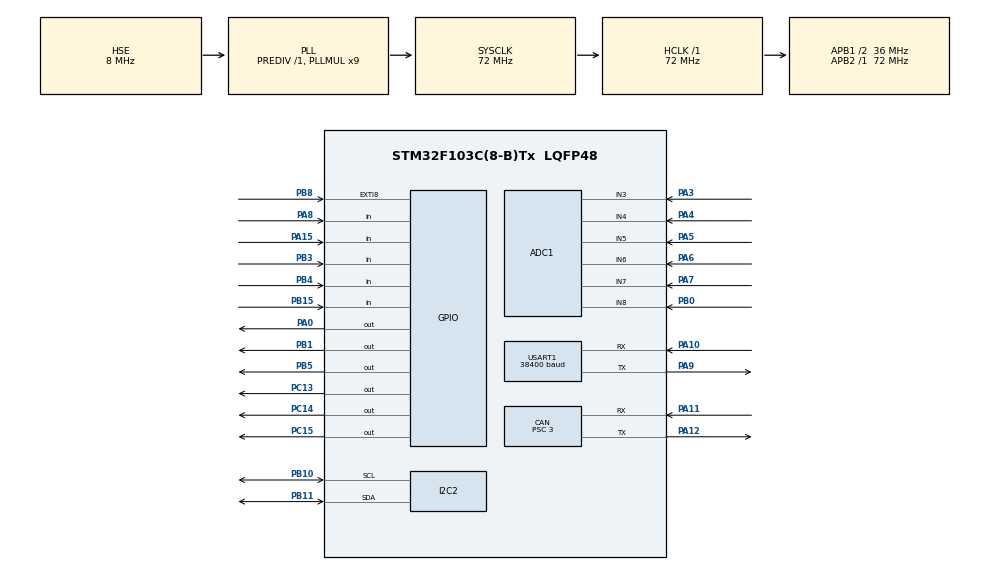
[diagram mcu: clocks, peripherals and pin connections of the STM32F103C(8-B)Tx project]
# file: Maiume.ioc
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ADC1.Channel-0\#ChannelRegularConversion=ADC_CHANNEL_4
ADC1.Channel-1\#ChannelRegularConversion=ADC_CHANNEL_5
ADC1.Channel-2\#ChannelRegularConversion=ADC_CHANNEL_6
ADC1.Channel-3\#ChannelRegularConversion=ADC_CHANNEL_7
ADC1.Channel-4\#ChannelRegularConversion=ADC_CHANNEL_8
ADC1.Channel-5\#ChannelRegularConversion=ADC_CHANNEL_3
ADC1.ContinuousConvMode=ENABLE
ADC1.NbrOfConversion=6
ADC1.NbrOfConversionFlag=1
ADC1.Rank-0\#ChannelRegularConversion=1
ADC1.Rank-1\#ChannelRegularConversion=2
ADC1.Rank-2\#ChannelRegularConversion=3
ADC1.Rank-3\#ChannelRegularConversion=4
ADC1.Rank-4\#ChannelRegularConversion=5
ADC1.Rank-5\#ChannelRegularConversion=6
ADC1.SamplingTime-0\#ChannelRegularConversion=ADC_SAMPLETIME_71CYCLES_5
ADC1.SamplingTime-1\#ChannelRegularConversion=ADC_SAMPLETIME_71CYCLES_5
ADC1.SamplingTime-2\#ChannelRegularConversion=ADC_SAMPLETIME_71CYCLES_5
ADC1.SamplingTime-3\#ChannelRegularConversion=ADC_SAMPLETIME_71CYCLES_5
ADC1.SamplingTime-4\#ChannelRegularConversion=ADC_SAMPLETIME_71CYCLES_5
ADC1.SamplingTime-5\#ChannelRegularConversion=ADC_SAMPLETIME_71CYCLES_5
ADC1.master=1
CAN.ABOM=ENABLE
CAN.BS1=CAN_BS1_5TQ
CAN.BS2=CAN_BS2_6TQ
CAN.CalculateTimeBit=1000
CAN.CalculateTimeQuantum=83.33333333333334
CAN.Prescaler=3
Dma.ADC1.1.Direction=DMA_PERIPH_TO_MEMORY
Dma.ADC1.1.Instance=DMA1_Channel1
Dma.ADC1.1.MemDataAlignment=DMA_MDATAALIGN_WORD
Dma.ADC1.1.MemInc=DMA_MINC_ENABLE
Dma.ADC1.1.Mode=DMA_CIRCULAR
Dma.ADC1.1.PeriphDataAlignment=DMA_PDATAALIGN_WORD
Dma.ADC1.1.PeriphInc=DMA_PINC_DISABLE
Dma.ADC1.1.Priority=DMA_PRIORITY_LOW
Dma.Request0=USART1_TX
Dma.Request1=ADC1
Dma.USART1_TX.0.Direction=DMA_MEMORY_TO_PERIPH
Dma.USART1_TX.0.Instance=DMA1_Channel4
Dma.USART1_TX.0.MemDataAlignment=DMA_MDATAALIGN_BYTE
Dma.USART1_TX.0.MemInc=DMA_MINC_ENABLE
Dma.USART1_TX.0.Mode=DMA_NORMAL
Dma.USART1_TX.0.PeriphDataAlignment=DMA_PDATAALIGN_BYTE
Dma.USART1_TX.0.PeriphInc=DMA_PINC_DISABLE
Dma.USART1_TX.0.Priority=DMA_PRIORITY_MEDIUM
Mcu.Family=STM32F1
Mcu.Name=STM32F103C(8-B)Tx
Mcu.Package=LQFP48
NVIC.DMA1_Channel1_IRQn=true\:0\:0\:false\:false\:true\:false
NVIC.DMA1_Channel4_IRQn=true\:0\:0\:false\:false\:true\:false
NVIC.EXTI9_5_IRQn=true\:0\:0\:true\:false\:true\:true
NVIC.PriorityGroup=NVIC_PRIORITYGROUP_3
NVIC.TIM3_IRQn=true\:1\:1\:true\:false\:true\:true
NVIC.USART1_IRQn=true\:0\:0\:false\:false\:true\:true
NVIC.USB_LP_CAN1_RX0_IRQn=true\:0\:0\:false\:false\:true\:true
PA0-WKUP.Signal=GPIO_Output
PA10.Mode=Asynchronous
PA10.Signal=USART1_RX
PA11.Mode=Master
PA11.Signal=CAN_RX
PA12.Mode=Master
PA12.Signal=CAN_TX
PA13.Mode=Serial_Wire
PA13.Signal=SYS_JTMS-SWDIO
PA14.Mode=Serial_Wire
PA14.Signal=SYS_JTCK-SWCLK
PA15.Signal=GPIO_Input
PA3.Signal=ADCx_IN3
PA4.Signal=ADCx_IN4
PA5.Signal=ADCx_IN5
PA6.Signal=ADCx_IN6
PA7.Signal=ADCx_IN7
PA8.Signal=GPIO_Input
PA9.Mode=Asynchronous
PA9.Signal=USART1_TX
PB0.Signal=ADCx_IN8
PB1.Signal=GPIO_Output
PB10.Mode=I2C
PB10.Signal=I2C2_SCL
PB11.Mode=I2C
PB11.Signal=I2C2_SDA
PB15.Signal=GPIO_Input
PB3.Signal=GPIO_Input
PB4.Signal=GPIO_Input
PB5.Signal=GPIO_Output
PB8.GPIO_ModeDefaultEXTI=GPIO_MODE_IT_RISING_FALLING
PB8.Signal=GPXTI8
PC13-TAMPER-RTC.Signal=GPIO_Output
PC14-OSC32_IN.Signal=GPIO_Output
PC15-OSC32_OUT.Signal=GPIO_Output
PD0-OSC_IN.Mode=HSE-External-Oscillator
PD0-OSC_IN.Signal=RCC_OSC_IN
PD1-OSC_OUT.Mode=HSE-External-Oscillator
PD1-OSC_OUT.Signal=RCC_OSC_OUT
ProjectManager.HeapSize=0x200
ProjectManager.StackSize=0x400
ProjectManager.TargetToolchain=SW4STM32
RCC.ADCPresc=RCC_ADCPCLK2_DIV6
RCC.AHBFreq_Value=72000000
RCC.APB1CLKDivider=RCC_HCLK_DIV2
RCC.APB1Freq_Value=36000000
RCC.APB1TimFreq_Value=72000000
RCC.APB2Freq_Value=72000000
RCC.APB2TimFreq_Value=72000000
RCC.HCLKFreq_Value=72000000
RCC.PLLMUL=RCC_PLL_MUL9
RCC.PLLSourceVirtual=RCC_PLLSOURCE_HSE
RCC.SYSCLKFreq_VALUE=72000000
RCC.SYSCLKSource=RCC_SYSCLKSOURCE_PLLCLK
RCC.USBFreq_Value=72000000
SH.ADCx_IN3.0=ADC1_IN3,IN3
SH.ADCx_IN4.0=ADC1_IN4,IN4
SH.ADCx_IN5.0=ADC1_IN5,IN5
SH.ADCx_IN6.0=ADC1_IN6,IN6
SH.ADCx_IN7.0=ADC1_IN7,IN7
SH.ADCx_IN8.0=ADC1_IN8,IN8
TIM3.Period=49
TIM3.Prescaler=36000
TIM4.Period=62000
TIM4.Prescaler=144
USART1.BaudRate=38400
USART1.VirtualMode=VM_ASYNC
VP_TIM3_VS_ClockSourceINT.Mode=Internal
VP_TIM4_VS_ClockSourceINT.Mode=Internal
board=custom

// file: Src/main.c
/**
  ******************************************************************************
  * @file           : main.c
  * @brief          : Main program body
  ******************************************************************************
  ** This notice applies to any and all portions of this file
  * that are not between comment pairs USER CODE BEGIN and
  * USER CODE END. Other portions of this file, whether
  * inserted by the user or by software development tools
  * are owned by their respective copyright owners.
  *
  * COPYRIGHT(c) 2019 STMicroelectronics
  *
  * Redistribution and use in source and binary forms, with or without modification,
  * are permitted provided that the following conditions are met:
  *   1. Redistributions of source code must retain the above copyright notice,
  *      this list of conditions and the following disclaimer.
  *   2. Redistributions in binary form must reproduce the above copyright notice,
  *      this list of conditions and the following disclaimer in the documentation
  *      and/or other materials provided with the distribution.
  *   3. Neither the name of STMicroelectronics nor the names of its contributors
  *      may be used to endorse or promote products derived from this software
  *      without specific prior written permission.
  *
  * THIS SOFTWARE IS PROVIDED BY THE COPYRIGHT HOLDERS AND CONTRIBUTORS "AS IS"
  * AND ANY EXPRESS OR IMPLIED WARRANTIES, INCLUDING, BUT NOT LIMITED TO, THE
  * IMPLIED WARRANTIES OF MERCHANTABILITY AND FITNESS FOR A PARTICULAR PURPOSE ARE
  * DISCLAIMED. IN NO EVENT SHALL THE COPYRIGHT HOLDER OR CONTRIBUTORS BE LIABLE
  * FOR ANY DIRECT, INDIRECT, INCIDENTAL, SPECIAL, EXEMPLARY, OR CONSEQUENTIAL
  * DAMAGES (INCLUDING, BUT NOT LIMITED TO, PROCUREMENT OF SUBSTITUTE GOODS OR
  * SERVICES; LOSS OF USE, DATA, OR PROFITS; OR BUSINESS INTERRUPTION) HOWEVER
  * CAUSED AND ON ANY THEORY OF LIABILITY, WHETHER IN CONTRACT, STRICT LIABILITY,
  * OR TORT (INCLUDING NEGLIGENCE OR OTHERWISE) ARISING IN ANY WAY OUT OF THE USE
  * OF THIS SOFTWARE, EVEN IF ADVISED OF THE POSSIBILITY OF SUCH DAMAGE.
  *
  ******************************************************************************
  */
#include "main.h"
#include "stm32f1xx_hal.h"

/* USER CODE BEGIN Includes */
#include "sd_hal_mpu6050.h"
/* USER CODE END Includes */

ADC_HandleTypeDef hadc1;
DMA_HandleTypeDef hdma_adc1;

CAN_HandleTypeDef hcan;

I2C_HandleTypeDef hi2c2;

TIM_HandleTypeDef htim3;
TIM_HandleTypeDef htim4;

UART_HandleTypeDef huart1;
DMA_HandleTypeDef hdma_usart1_tx;

/* USER CODE BEGIN PV */
/* Private variables ---------------------------------------------------------*/

/* Para enviar como string, defina SENDNUMBER como 0. Para enviar um buffer de bytes, defina como 1*/
#define SENDNUMBER 1

/* Define endere�os dos dados (measureID) de acordo com o protocolo FTCAN2.0*/
#define TPS_ADDR 0x0002
#define RPM_ADDR 0x0084
#define BAT_V_ADDR 0x0012
#define TPM_MOT_ADDR 0x0008
#define OILP_ADDR 0x000A
#define SPEEDFR_ADDR 0x001A
#define FUELP_ADDR 0x000C
#define MAP_ADDR 0x0004
#define DRSFRPM 0x0020
#define ECU_INJ_TIME_A 0x0086
#define ECU_INJ_TIME_B 0x0088

/* Define endere�os das temperaturas do Freio*/

/*Variaveis globais dos dados*/
uint16_t RPM = 0,  SPEEDFR = 0, TIMERCOUNT=0, POSVOL = 0, PFREIOT = 0, PFREIOD =0, TEMPPDU = 0,TPS, ECT, BAT, OILP,FUELP, CORRENTE=0, SUSP = 0;
uint16_t INJEC_TIME_A = 0, INJEC_TIME_B = 0;
float  MAP;
uint8_t BOMBA, VENT, SPARKC, BEACON = 0;

CanTxMsgTypeDef TxTemp;
CanTxMsgTypeDef TxSpeed;
CanTxMsgTypeDef adc1;

/* UART  */
char tx_buffer[100];
char tx_buffer2[80];
char tx_buffer3[80];
char tx_buffer4[100];
uint8_t pack3_cnt = 0, pack2_cnt = 0, PACKNO;

uint8_t buff1[15], buff2[20], buff3[15] ,buff4[30];

/*I2c acelerometro*/
SD_MPU6050 mpu1;
char acel_result[100];
int16_t g_x, g_y, g_z, a_x, a_y, a_z;

/* Recepcao de pacotes CAN */
uint32_t canID =0, callbackCnt = 0;
uint8_t  datafieldID;
uint16_t payloadLength, payloadCnt = 0;
uint8_t segPackNo = 0;
uint8_t payloadData[80];
uint8_t canData[8];

/* ADC */
uint32_t adc_buffer[600], ADC[6]= {0,0,0,0,0,0};

/* Extensometros */
uint8_t dados_ext[8], RECEIVED_ETX = 0;
uint8_t EXT_ARRAY[8];
unsigned long EXT_DATA[8] = {0,0,0,0,0,0,0,0};
uint8_t CANTX = 0, CANRX = 0;

/* Sensor de temperatura PWM */
uint32_t PWMHighCounter = 0, PWMPeriodCounter = 0, dutyCycle = 0;
uint16_t TEMPBREAK_1=0, TEMPBREAK_2=0;

/*  vent = B4
  bomba = A15
beacon = a8
sensor de corrente = b0
 */

/* USER CODE END PV */

void SystemClock_Config(void);
static void MX_GPIO_Init(void);
static void MX_DMA_Init(void);
static void MX_ADC1_Init(void);
static void MX_CAN_Init(void);
static void MX_I2C2_Init(void);
static void MX_TIM3_Init(void);
static void MX_USART1_UART_Init(void);
static void MX_TIM4_Init(void);

/* USER CODE BEGIN PFP */
/* Private function prototypes -----------------------------------------------*/

/* Declara funcoes proprias do usuario */
static void CAN_Config(void);
void TR_CAN_Transmit( CanTxMsgTypeDef *MessageTX, uint8_t Data_size, uint8_t Data_array[]);
void UserMsgConfig(void);
void getMeasure(uint8_t address, uint16_t value);
void sendFrame(void);
void assemblePackage(uint8_t n);

/*Chama essa fun��o quando completa a conversao dos canais ADC*/
void HAL_ADC_ConvCpltCallback(ADC_HandleTypeDef* hadc){
	int i;
		for(i=300;i<=594;i+=6){
			ADC[0] = adc_buffer[i]+ ADC[0];
			ADC[1] = adc_buffer[i+1]+ ADC[1];
			ADC[2] = adc_buffer[i+2]+ ADC[2];
			ADC[3] = adc_buffer[i+3]+ ADC[3];
			ADC[4] = adc_buffer[i+4]+ ADC[4];
			ADC[5] = adc_buffer[i+5]+ ADC[5];
		}
	ADC[0] = ADC[0]/100;
	ADC[1] = ADC[1]/100;
	ADC[2] = ADC[2]/100;
	ADC[3] = ADC[3]/100;
	ADC[4] = ADC[4]/100;
	ADC[5] = ADC[5]/100;

	PFREIOT = ADC[0];
	PFREIOD = ADC[1];
	POSVOL = ADC[2];
	TEMPPDU = ADC[3];
	CORRENTE = ADC[4];
	SUSP = ADC[5];
}

void HAL_ADC_ConvHalfCpltCallback(ADC_HandleTypeDef* hadc){
	int i;
	for(i=0;i<=294;i+=6){
		ADC[0] = adc_buffer[i]+ ADC[0];
		ADC[1] = adc_buffer[i+1]+ ADC[1];
		ADC[2] = adc_buffer[i+2]+ ADC[2];
		ADC[3] = adc_buffer[i+3]+ ADC[3];
		ADC[4] = adc_buffer[i+4]+ ADC[4];
		ADC[5] = adc_buffer[i+5]+ ADC[5];

	}
	//ADC[0] = ADC[0]/5;
	//ADC[1] = ADC[1]/5;
	//ADC[2] = ADC[2]/5;
	//ADC[3] = ADC[3]/5;
}

/* USER CODE END PFP */

int main(void)
{

  /* MCU Configuration----------------------------------------------------------*/

  /* Reset of all peripherals, Initializes the Flash interface and the Systick. */
  HAL_Init();

  /* Configure the system clock */
  SystemClock_Config();

  /* Initialize all configured peripherals */
  MX_GPIO_Init();
  MX_DMA_Init();
  MX_ADC1_Init();
  MX_CAN_Init();
  MX_I2C2_Init();
  MX_TIM3_Init();
  MX_USART1_UART_Init();
  MX_TIM4_Init();
  /* USER CODE BEGIN 2 */

  /*Delay para esperar FT500 estabelecer comunicacao com WB-O2*/
  HAL_Delay(4000);

  /*LED C13 pisca para sinalizar que o progrma come�ou*/
    HAL_GPIO_WritePin(GPIOC, GPIO_PIN_13, GPIO_PIN_RESET);
    HAL_Delay(500);
    HAL_GPIO_WritePin(GPIOC, GPIO_PIN_13, GPIO_PIN_SET);
    HAL_Delay(500);
    HAL_GPIO_WritePin(GPIOC, GPIO_PIN_13, GPIO_PIN_RESET);
    HAL_Delay(500);

  /* Funcoes de inicialicao das mensagens CAN */
  CAN_Config();
  UserMsgConfig();

  /*Acelerometro*/
   SD_MPU6050_Init (&hi2c2, &mpu1, SD_MPU6050_Device_0,SD_MPU6050_Accelerometer_2G, SD_MPU6050_Gyroscope_250s);

  /* Inicializa ADC no modo circular, carregando resultados no buffer adc_buffer*/
  HAL_ADC_Start_DMA(&hadc1, adc_buffer, 600);

  /* Chama fun��o de recep��o de frames CAN  */
  if (HAL_CAN_Receive_IT(&hcan, CAN_FIFO0) != HAL_OK)
    {
      /* Reception Error */
     Error_Handler();
    }

   /* Sinaliza para timer4 (base do tempo para o PWM) iniciar a contagem*/
   HAL_TIM_Base_Start(&htim4);

   /* Sinaliza para timer comecar a contagem */
   HAL_TIM_Base_Start_IT(&htim3);

  /* USER CODE END 2 */

  /* Infinite loop */
  /* USER CODE BEGIN WHILE */
  while (1)
  {
	  /* Pisca LED para sinalizar que h� um programa rodando */
	  //HAL_GPIO_TogglePin(GPIOC, GPIO_PIN_13);
	//  result = SD_MPU6050_Init (&hi2c2, &mpu1, SD_MPU6050_Device_0,SD_MPU6050_Accelerometer_2G, SD_MPU6050_Gyroscope_250s);
	//  HAL_Delay(100);

  /* USER CODE END WHILE */

  /* USER CODE BEGIN 3 */

	 	 //SD_MPU6050_ReadAccelerometer(&hi2c2,&mpu1);
	 //	 a_x = mpu1.Accelerometer_X;
	 	// a_y = mpu1.Accelerometer_Y;
	 //	 a_z = mpu1.Accelerometer_Z;
  }
  /* USER CODE END 3 */

}

void SystemClock_Config(void)
{

  RCC_OscInitTypeDef RCC_OscInitStruct;
  RCC_ClkInitTypeDef RCC_ClkInitStruct;
  RCC_PeriphCLKInitTypeDef PeriphClkInit;

    /**Initializes the CPU, AHB and APB busses clocks
    */
  RCC_OscInitStruct.OscillatorType = RCC_OSCILLATORTYPE_HSE;
  RCC_OscInitStruct.HSEState = RCC_HSE_ON;
  RCC_OscInitStruct.HSEPredivValue = RCC_HSE_PREDIV_DIV1;
  RCC_OscInitStruct.HSIState = RCC_HSI_ON;
  RCC_OscInitStruct.PLL.PLLState = RCC_PLL_ON;
  RCC_OscInitStruct.PLL.PLLSource = RCC_PLLSOURCE_HSE;
  RCC_OscInitStruct.PLL.PLLMUL = RCC_PLL_MUL9;
  if (HAL_RCC_OscConfig(&RCC_OscInitStruct) != HAL_OK)
  {
    _Error_Handler(__FILE__, __LINE__);
  }

    /**Initializes the CPU, AHB and APB busses clocks
    */
  RCC_ClkInitStruct.ClockType = RCC_CLOCKTYPE_HCLK|RCC_CLOCKTYPE_SYSCLK
                              |RCC_CLOCKTYPE_PCLK1|RCC_CLOCKTYPE_PCLK2;
  RCC_ClkInitStruct.SYSCLKSource = RCC_SYSCLKSOURCE_PLLCLK;
  RCC_ClkInitStruct.AHBCLKDivider = RCC_SYSCLK_DIV1;
  RCC_ClkInitStruct.APB1CLKDivider = RCC_HCLK_DIV2;
  RCC_ClkInitStruct.APB2CLKDivider = RCC_HCLK_DIV1;

  if (HAL_RCC_ClockConfig(&RCC_ClkInitStruct, FLASH_LATENCY_2) != HAL_OK)
  {
    _Error_Handler(__FILE__, __LINE__);
  }

  PeriphClkInit.PeriphClockSelection = RCC_PERIPHCLK_ADC;
  PeriphClkInit.AdcClockSelection = RCC_ADCPCLK2_DIV6;
  if (HAL_RCCEx_PeriphCLKConfig(&PeriphClkInit) != HAL_OK)
  {
    _Error_Handler(__FILE__, __LINE__);
  }

    /**Configure the Systick interrupt time
    */
  HAL_SYSTICK_Config(HAL_RCC_GetHCLKFreq()/1000);

    /**Configure the Systick
    */
  HAL_SYSTICK_CLKSourceConfig(SYSTICK_CLKSOURCE_HCLK);

  /* SysTick_IRQn interrupt configuration */
  HAL_NVIC_SetPriority(SysTick_IRQn, 0, 0);
}

/* ADC1 init function */
static void MX_ADC1_Init(void)
{

  ADC_ChannelConfTypeDef sConfig;

    /**Common config
    */
  hadc1.Instance = ADC1;
  hadc1.Init.ScanConvMode = ADC_SCAN_ENABLE;
  hadc1.Init.ContinuousConvMode = ENABLE;
  hadc1.Init.DiscontinuousConvMode = DISABLE;
  hadc1.Init.ExternalTrigConv = ADC_SOFTWARE_START;
  hadc1.Init.DataAlign = ADC_DATAALIGN_RIGHT;
  hadc1.Init.NbrOfConversion = 6;
  if (HAL_ADC_Init(&hadc1) != HAL_OK)
  {
    _Error_Handler(__FILE__, __LINE__);
  }

    /**Configure Regular Channel
    */
  sConfig.Channel = ADC_CHANNEL_4;
  sConfig.Rank = ADC_REGULAR_RANK_1;
  sConfig.SamplingTime = ADC_SAMPLETIME_71CYCLES_5;
  if (HAL_ADC_ConfigChannel(&hadc1, &sConfig) != HAL_OK)
  {
    _Error_Handler(__FILE__, __LINE__);
  }

    /**Configure Regular Channel
    */
  sConfig.Channel = ADC_CHANNEL_5;
  sConfig.Rank = ADC_REGULAR_RANK_2;
  if (HAL_ADC_ConfigChannel(&hadc1, &sConfig) != HAL_OK)
  {
    _Error_Handler(__FILE__, __LINE__);
  }

    /**Configure Regular Channel
    */
  sConfig.Channel = ADC_CHANNEL_6;
  sConfig.Rank = ADC_REGULAR_RANK_3;
  if (HAL_ADC_ConfigChannel(&hadc1, &sConfig) != HAL_OK)
  {
    _Error_Handler(__FILE__, __LINE__);
  }

    /**Configure Regular Channel
    */
  sConfig.Channel = ADC_CHANNEL_7;
  sConfig.Rank = ADC_REGULAR_RANK_4;
  if (HAL_ADC_ConfigChannel(&hadc1, &sConfig) != HAL_OK)
  {
    _Error_Handler(__FILE__, __LINE__);
  }

    /**Configure Regular Channel
    */
  sConfig.Channel = ADC_CHANNEL_8;
  sConfig.Rank = ADC_REGULAR_RANK_5;
  if (HAL_ADC_ConfigChannel(&hadc1, &sConfig) != HAL_OK)
  {
    _Error_Handler(__FILE__, __LINE__);
  }

    /**Configure Regular Channel
    */
  sConfig.Channel = ADC_CHANNEL_3;
  sConfig.Rank = ADC_REGULAR_RANK_6;
  if (HAL_ADC_ConfigChannel(&hadc1, &sConfig) != HAL_OK)
  {
    _Error_Handler(__FILE__, __LINE__);
  }

}

/* CAN init function */
static void MX_CAN_Init(void)
{

  hcan.Instance = CAN1;
  hcan.Init.Prescaler = 3;
  hcan.Init.Mode = CAN_MODE_NORMAL;
  hcan.Init.SJW = CAN_SJW_1TQ;
  hcan.Init.BS1 = CAN_BS1_5TQ;
  hcan.Init.BS2 = CAN_BS2_6TQ;
  hcan.Init.TTCM = DISABLE;
  hcan.Init.ABOM = ENABLE;
  hcan.Init.AWUM = DISABLE;
  hcan.Init.NART = DISABLE;
  hcan.Init.RFLM = DISABLE;
  hcan.Init.TXFP = DISABLE;
  if (HAL_CAN_Init(&hcan) != HAL_OK)
  {
    _Error_Handler(__FILE__, __LINE__);
  }

}

/* I2C2 init function */
static void MX_I2C2_Init(void)
{

  hi2c2.Instance = I2C2;
  hi2c2.Init.ClockSpeed = 100000;
  hi2c2.Init.DutyCycle = I2C_DUTYCYCLE_2;
  hi2c2.Init.OwnAddress1 = 0;
  hi2c2.Init.AddressingMode = I2C_ADDRESSINGMODE_7BIT;
  hi2c2.Init.DualAddressMode = I2C_DUALADDRESS_DISABLE;
  hi2c2.Init.OwnAddress2 = 0;
  hi2c2.Init.GeneralCallMode = I2C_GENERALCALL_DISABLE;
  hi2c2.Init.NoStretchMode = I2C_NOSTRETCH_DISABLE;
  if (HAL_I2C_Init(&hi2c2) != HAL_OK)
  {
    _Error_Handler(__FILE__, __LINE__);
  }

}

/* TIM3 init function */
static void MX_TIM3_Init(void)
{

  TIM_ClockConfigTypeDef sClockSourceConfig;
  TIM_MasterConfigTypeDef sMasterConfig;

  htim3.Instance = TIM3;
  htim3.Init.Prescaler = 36000;
  htim3.Init.CounterMode = TIM_COUNTERMODE_UP;
  htim3.Init.Period = 49;
  htim3.Init.ClockDivision = TIM_CLOCKDIVISION_DIV1;
  htim3.Init.AutoReloadPreload = TIM_AUTORELOAD_PRELOAD_DISABLE;
  if (HAL_TIM_Base_Init(&htim3) != HAL_OK)
  {
    _Error_Handler(__FILE__, __LINE__);
  }

  sClockSourceConfig.ClockSource = TIM_CLOCKSOURCE_INTERNAL;
  if (HAL_TIM_ConfigClockSource(&htim3, &sClockSourceConfig) != HAL_OK)
  {
    _Error_Handler(__FILE__, __LINE__);
  }

  sMasterConfig.MasterOutputTrigger = TIM_TRGO_RESET;
  sMasterConfig.MasterSlaveMode = TIM_MASTERSLAVEMODE_DISABLE;
  if (HAL_TIMEx_MasterConfigSynchronization(&htim3, &sMasterConfig) != HAL_OK)
  {
    _Error_Handler(__FILE__, __LINE__);
  }

}

/* TIM4 init function */
static void MX_TIM4_Init(void)
{

  TIM_ClockConfigTypeDef sClockSourceConfig;
  TIM_MasterConfigTypeDef sMasterConfig;

  htim4.Instance = TIM4;
  htim4.Init.Prescaler = 144;
  htim4.Init.CounterMode = TIM_COUNTERMODE_UP;
  htim4.Init.Period = 62000;
  htim4.Init.ClockDivision = TIM_CLOCKDIVISION_DIV1;
  htim4.Init.AutoReloadPreload = TIM_AUTORELOAD_PRELOAD_DISABLE;
  if (HAL_TIM_Base_Init(&htim4) != HAL_OK)
  {
    _Error_Handler(__FILE__, __LINE__);
  }

  sClockSourceConfig.ClockSource = TIM_CLOCKSOURCE_INTERNAL;
  if (HAL_TIM_ConfigClockSource(&htim4, &sClockSourceConfig) != HAL_OK)
  {
    _Error_Handler(__FILE__, __LINE__);
  }

  sMasterConfig.MasterOutputTrigger = TIM_TRGO_RESET;
  sMasterConfig.MasterSlaveMode = TIM_MASTERSLAVEMODE_DISABLE;
  if (HAL_TIMEx_MasterConfigSynchronization(&htim4, &sMasterConfig) != HAL_OK)
  {
    _Error_Handler(__FILE__, __LINE__);
  }

}

/* USART1 init function */
static void MX_USART1_UART_Init(void)
{

  huart1.Instance = USART1;
  huart1.Init.BaudRate = 38400;
  huart1.Init.WordLength = UART_WORDLENGTH_8B;
  huart1.Init.StopBits = UART_STOPBITS_1;
  huart1.Init.Parity = UART_PARITY_NONE;
  huart1.Init.Mode = UART_MODE_TX_RX;
  huart1.Init.HwFlowCtl = UART_HWCONTROL_NONE;
  huart1.Init.OverSampling = UART_OVERSAMPLING_16;
  if (HAL_UART_Init(&huart1) != HAL_OK)
  {
    _Error_Handler(__FILE__, __LINE__);
  }

}

static void MX_DMA_Init(void)
{
  /* DMA controller clock enable */
  __HAL_RCC_DMA1_CLK_ENABLE();

  /* DMA interrupt init */
  /* DMA1_Channel1_IRQn interrupt configuration */
  HAL_NVIC_SetPriority(DMA1_Channel1_IRQn, 0, 0);
  HAL_NVIC_EnableIRQ(DMA1_Channel1_IRQn);
  /* DMA1_Channel4_IRQn interrupt configuration */
  HAL_NVIC_SetPriority(DMA1_Channel4_IRQn, 0, 0);
  HAL_NVIC_EnableIRQ(DMA1_Channel4_IRQn);

}

/** Configure pins as
        * Analog
        * Input
        * Output
        * EVENT_OUT
        * EXTI
*/
static void MX_GPIO_Init(void)
{

  GPIO_InitTypeDef GPIO_InitStruct;

  /* GPIO Ports Clock Enable */
  __HAL_RCC_GPIOC_CLK_ENABLE();
  __HAL_RCC_GPIOD_CLK_ENABLE();
  __HAL_RCC_GPIOA_CLK_ENABLE();
  __HAL_RCC_GPIOB_CLK_ENABLE();

  /*Configure GPIO pin Output Level */
  HAL_GPIO_WritePin(GPIOC, GPIO_PIN_13|GPIO_PIN_14|GPIO_PIN_15, GPIO_PIN_RESET);

  /*Configure GPIO pin Output Level */
  HAL_GPIO_WritePin(GPIOA, GPIO_PIN_0, GPIO_PIN_RESET);

  /*Configure GPIO pin Output Level */
  HAL_GPIO_WritePin(GPIOB, GPIO_PIN_1|GPIO_PIN_5, GPIO_PIN_RESET);

  /*Configure GPIO pins : PC13 PC14 PC15 */
  GPIO_InitStruct.Pin = GPIO_PIN_13|GPIO_PIN_14|GPIO_PIN_15;
  GPIO_InitStruct.Mode = GPIO_MODE_OUTPUT_PP;
  GPIO_InitStruct.Pull = GPIO_NOPULL;
  GPIO_InitStruct.Speed = GPIO_SPEED_FREQ_LOW;
  HAL_GPIO_Init(GPIOC, &GPIO_InitStruct);

  /*Configure GPIO pin : PA0 */
  GPIO_InitStruct.Pin = GPIO_PIN_0;
  GPIO_InitStruct.Mode = GPIO_MODE_OUTPUT_PP;
  GPIO_InitStruct.Pull = GPIO_NOPULL;
  GPIO_InitStruct.Speed = GPIO_SPEED_FREQ_LOW;
  HAL_GPIO_Init(GPIOA, &GPIO_InitStruct);

  /*Configure GPIO pins : PB1 PB5 */
  GPIO_InitStruct.Pin = GPIO_PIN_1|GPIO_PIN_5;
  GPIO_InitStruct.Mode = GPIO_MODE_OUTPUT_PP;
  GPIO_InitStruct.Pull = GPIO_NOPULL;
  GPIO_InitStruct.Speed = GPIO_SPEED_FREQ_LOW;
  HAL_GPIO_Init(GPIOB, &GPIO_InitStruct);

  /*Configure GPIO pins : PB15 PB3 PB4 */
  GPIO_InitStruct.Pin = GPIO_PIN_15|GPIO_PIN_3|GPIO_PIN_4;
  GPIO_InitStruct.Mode = GPIO_MODE_INPUT;
  GPIO_InitStruct.Pull = GPIO_NOPULL;
  HAL_GPIO_Init(GPIOB, &GPIO_InitStruct);

  /*Configure GPIO pins : PA8 PA15 */
  GPIO_InitStruct.Pin = GPIO_PIN_8|GPIO_PIN_15;
  GPIO_InitStruct.Mode = GPIO_MODE_INPUT;
  GPIO_InitStruct.Pull = GPIO_NOPULL;
  HAL_GPIO_Init(GPIOA, &GPIO_InitStruct);

  /*Configure GPIO pin : PB8 */
  GPIO_InitStruct.Pin = GPIO_PIN_8;
  GPIO_InitStruct.Mode = GPIO_MODE_IT_RISING_FALLING;
  GPIO_InitStruct.Pull = GPIO_NOPULL;
  HAL_GPIO_Init(GPIOB, &GPIO_InitStruct);

  /* EXTI interrupt init*/
  HAL_NVIC_SetPriority(EXTI9_5_IRQn, 0, 0);
  HAL_NVIC_EnableIRQ(EXTI9_5_IRQn);

}

/* USER CODE BEGIN 4 */

void sendFrame(void){
	hcan.pTxMsg->Data[0] = TIMERCOUNT>>8;
	hcan.pTxMsg->Data[1] = TIMERCOUNT;
	if (HAL_CAN_Transmit_IT(&hcan) != HAL_OK) {
			   /* Transmition Error */
				// HAL_GPIO_TogglePin(GPIOC, GPIO_PIN_13);
			   //Error_Handler();
	}
}

/* Recebe endere�o do measureID do dado recebido pelo barramento e seu valor e atualiza a variavel global correspondente*/
void getMeasure(uint8_t address, uint16_t value){

	switch(address){
	case TPS_ADDR:
		//TPS = value*0.1;
		TPS = value;
		break;
	case RPM_ADDR:
		RPM = value;
		break;
	case  OILP_ADDR:
		//OILP = 0.001*value;
		OILP = value;
		break;
	case  MAP_ADDR:
		MAP = 0.001*value;
		break;
	case  FUELP_ADDR:
//		FUELP = 0.001*value;
		FUELP = value;
		break;
	case SPEEDFR_ADDR:
		SPEEDFR = value;
		break;
	case BAT_V_ADDR:
//		BAT = 0.01*value;
		BAT = value;
		break;
	case TPM_MOT_ADDR:
		//ECT = 0.1*value;
		ECT = value;
		break;
	case	DRSFRPM:
		RPM = value;
		break;
	case ECU_INJ_TIME_A:
		// INJEC_TIME_A = 0.1*value;
		INJEC_TIME_A = value;
		break;
	case ECU_INJ_TIME_B:
		// INJEC_TIME_B = 0.1*value;
		INJEC_TIME_B = value;
		break;
	default:
		break;
	}
}

	/* Essa funcao configura cada tipo de mensagem (para transmissao) com sua ID e tamanho de dados (DLC)
	 * As mensagens foram criadas em private variables
	 * Nesse codigo, utiliza-se o modo extendido
	 */
void UserMsgConfig(void){

	/* Mensagem 1 -> TxTemp */
	TxTemp.StdId = 0x321;
	TxTemp.ExtId = 0x321;
	TxTemp.RTR = CAN_RTR_DATA;
	TxTemp.IDE = CAN_ID_EXT;
	TxTemp.DLC = 4;

	/* Mensagem 2 -> TxSpeed */
	TxSpeed.StdId = 0x125;
	TxSpeed.ExtId = 0x125;
	TxSpeed.RTR = CAN_RTR_DATA;
	TxSpeed.IDE = CAN_ID_EXT;
	TxSpeed.DLC = 2;

	/* Mensagem 3 -> adc1 */
	adc1.StdId = 0x125;
	adc1.ExtId = 0x3244;
	adc1.RTR = CAN_RTR_DATA;
	adc1.IDE = CAN_ID_EXT;
	adc1.DLC = 2;
}

	/* Entra como parametro o endereco da mensagem (tipo CanTxMsgTypeDef) ,
	 * quantos bytes a serem enviados e o array de dados.
	 * Envia ao barramento por meio de HAL_CAN_Transmit_IT(&hcan)
	 */
void TR_CAN_Transmit( CanTxMsgTypeDef *MessageTX, uint8_t Data_size, uint8_t Data_array[]){

	 /*##-1- Configure the CAN peripheral #######################################
	  * Associa a estrutura de mensagem a ser transmitida ao campo pTxMsg do Can Handle hcan
	  */
	hcan.pTxMsg = MessageTX;
	hcan.pTxMsg->DLC = Data_size;

	int i;
	for(i=0;i<Data_size;i++){
		hcan.pTxMsg->Data[i] = Data_array[i];
	}

	/*transmite frame*/
	if (HAL_CAN_Transmit_IT(&hcan) != HAL_OK){
	/* Transmition Error */
		Error_Handler();
	}
}

static void CAN_Config(void)
{
  CAN_FilterConfTypeDef  sFilterConfig;
 static CanTxMsgTypeDef        TxMessage;     //--
 static CanRxMsgTypeDef        RxMessage;     //-- codigo original

  /*##-1- Configure the CAN peripheral #######################################*/
   hcan.pTxMsg = &TxMessage;     //-- codigo original
   hcan.pRxMsg = &RxMessage;	  // --

  /*##-2- Configure the CAN Filter ###########################################*/
  sFilterConfig.FilterNumber = 0;
  sFilterConfig.FilterMode = CAN_FILTERMODE_IDMASK;
  sFilterConfig.FilterScale = CAN_FILTERSCALE_32BIT;
  sFilterConfig.FilterIdHigh = 0x0000;
  sFilterConfig.FilterIdLow = 0x0000;
  sFilterConfig.FilterMaskIdHigh = 0x0000;
  sFilterConfig.FilterMaskIdLow = 0x0000;
  sFilterConfig.FilterFIFOAssignment = 0;
  sFilterConfig.FilterActivation = ENABLE;
  sFilterConfig.BankNumber = 14;

  if (HAL_CAN_ConfigFilter(&hcan, &sFilterConfig) != HAL_OK)
  {
    /* Filter configuration Error */
    Error_Handler();
  }

  /*##-3- Configure Transmission process #####################################*/
  hcan.pTxMsg->StdId = 0x321;
  hcan.pTxMsg->ExtId = 0x301<<19;
  hcan.pTxMsg->RTR = CAN_RTR_DATA;
  /*configurando como extended id (29 bits)*/
  hcan.pTxMsg->IDE = CAN_ID_EXT;
  hcan.pTxMsg->DLC = 2;
}

void HAL_CAN_RxCpltCallback(CAN_HandleTypeDef *hcan)
{

	CANRX = 1;

	/* LED 13 muda de estado toda vez que � chamada a func�o callback, ou seja, toda vez que recebe um pacote CAN */
	HAL_GPIO_TogglePin(GPIOC, GPIO_PIN_13);

	uint8_t i, dataLength;

	/* Armazena a quantidade de bytes do frame na variavel dataLength e a ID em canID */
	dataLength = hcan->pRxMsg->DLC;
	canID = hcan->pRxMsg->ExtId;

	/* Armazena dados recebidos em array canData*/
	for (i=0;i<dataLength;i++){
		canData[i] = hcan->pRxMsg->Data[i];
	}

	/*Se o ProductID for relativo a FT500 (0x280)*/
   if ((((hcan->pRxMsg->ExtId) >> 19) == 0x280) && (hcan->pRxMsg->IDE == CAN_ID_EXT)){

	datafieldID = (canID>>11)& 0x7;

	if (datafieldID != 0x2){
		//while(1){}
	}

	/* Testa se pacote � do tipo Single Packet*/
	if (canData[0] == 0xff){
	}

	/* Testa se pacote � do tipo segmented packet */
	/* Testa se � o primeiro pacote do segmented packet (valor 0 no primeiro byte)*/
	if ( canData[0] == 0){

		/* Zera vari�vel que conta o indice da payload */
		payloadCnt = 0;

		/* Seta segPackNo como 1, indicando que o proximo pacote a ser recebido tem valor do primeiro byte como 1 */
		segPackNo = 1;

		/* Armazena tamanho da payload na variavel payloadLength. Tamanho da payload sao o segundo e
		 * terceiros bytes do primeiro pacote */
		payloadLength = ((canData[1] & 0x7) << 8) | canData[2];

		/* Nos 5 bytes restantes, armazena payload no array */
		for (i=3;i<dataLength;i++){
			payloadData[payloadCnt] = canData[i];
			payloadCnt++;
		}
	}

	/* Caso o pacote tenha o primeiro byte diferente de 0 */
	else{
		/* Caso seja o pacote com o n�mero certo */
		if(canData[0] == segPackNo){
			segPackNo++;
			/* Armazena os dados recebidos na variavel payloadData, come�ando do byte 1 e indo at� o ultimo byte recebido*/
			for (i=1;i<dataLength;i++){
				payloadData[payloadCnt] = canData[i];

				/*Dados sao enviados de 4 em 4 bytes, sendo os 2 primeiro relativos ao endere�o especifico de cada um
				  e os 2 ultimos o dado
				  Faz divisao por 4 e pega o resto.
				*/
				if(payloadCnt % 4 == 3){
					uint8_t add = payloadData[payloadCnt-2];

					/*Junta os 2 bytes correspondentes ao valor do dado*/
					uint16_t value = (payloadData[payloadCnt-1]<<8)|payloadData[payloadCnt];

					getMeasure(add, value);
				}

				/* Chegou no final da payload */
				if((payloadCnt == payloadLength-1)){
					break;
				}

				payloadCnt++;
			}
		}
	}
  }

   /* Pacote da placa dos extensometros  */
  else if ((((hcan->pRxMsg->ExtId) >> 19) == 0x300) && (hcan->pRxMsg->IDE == CAN_ID_EXT)){

	RECEIVED_ETX = 1;
	for(i=0;i<8;i++){
		EXT_ARRAY[i] = canData[i];
	}

	switch(EXT_ARRAY[0]){
	case 0xA:
	EXT_DATA[0] = (EXT_ARRAY[1]<<16) | (EXT_ARRAY[2]<<8) | EXT_ARRAY[3];
	EXT_DATA[1] = (EXT_ARRAY[5]<<16) | (EXT_ARRAY[6]<<8) | EXT_ARRAY[7];
	break;
	case 0xB:
	EXT_DATA[2] = (EXT_ARRAY[1]<<16) | (EXT_ARRAY[2]<<8) | EXT_ARRAY[3];
	EXT_DATA[3] = (EXT_ARRAY[5]<<16) | (EXT_ARRAY[6]<<8) | EXT_ARRAY[7];
	break;
	case 0xC:
	EXT_DATA[4] = (EXT_ARRAY[1]<<16) | (EXT_ARRAY[2]<<8) | EXT_ARRAY[3];
	EXT_DATA[5] = (EXT_ARRAY[5]<<16) | (EXT_ARRAY[6]<<8) | EXT_ARRAY[7];
	break;
	case 0xD:
	EXT_DATA[6] = (EXT_ARRAY[1]<<16) | (EXT_ARRAY[2]<<8) | EXT_ARRAY[3];
	EXT_DATA[7] = (EXT_ARRAY[5]<<16) | (EXT_ARRAY[6]<<8) | EXT_ARRAY[7];
	break;

	}

  }

  else if ((((hcan->pRxMsg->ExtId) >> 19) == 0x302) && (hcan->pRxMsg->IDE == CAN_ID_EXT)){
	  TEMPBREAK_1 = ((canData[1]<<8)|canData[2]);
	  TEMPBREAK_2 = ((canData[4]<<8)|canData[5]);
  }
  callbackCnt++; //Contador de quantos callbacks foram chamados

  /* Chama funcao para receber novo pacote */
  if (HAL_CAN_Receive_IT(hcan, CAN_FIFO0) != HAL_OK)
  {
    Error_Handler();
  }
  CANRX = 0;

}

/* Quando UART termina de enviar, gera uma interrup��o que chama esse callback */
void HAL_UART_TxCpltCallback(UART_HandleTypeDef *huart){

}

/*
 * Timer 3 -> clock vem de APB1 = 72Mhz
 * Prescaler de 36000 -> 72Mhz/36k = 2000Hz frequencia do timer. Prescaler divide o clock do timer
 * Counter Period = 49
 * Frequencia de interrupts = 2000/( 49 + 1 ) = 50Hz
 * Assim como o nome diz, HAL_TIM_PeriodElapsedCallback � o callback da interrup��o gerada quando a contagem do timer
 * chega no limite, o couter period. Nesse caso Counter Period foi setado no Cube como 49, pois come�ando do 0, isso
 * corresponde a 50 periodos do timer. Dessa forma, com uma frequencia do timer configurada para 2000Hz, temos
 * uma interrup��o a cada 20ms
 */
void HAL_TIM_PeriodElapsedCallback(TIM_HandleTypeDef *htim){

	TIMERCOUNT++;
	SPARKC = HAL_GPIO_ReadPin(GPIOB, GPIO_PIN_3);
	BEACON = HAL_GPIO_ReadPin(GPIOA, GPIO_PIN_8);
	BEACON=1;

	if(SENDNUMBER == 0){

		/*Mensagem para interface, pacote 1 (de 50Hz) com ext sem acelerometro*/
		//sprintf(tx_buffer, "%d %d %d %lu %lu %lu %lu %d\n",1, SPEEDFR, SPARKC, EXT_DATA[0], EXT_DATA[1], EXT_DATA[2], EXT_DATA[3],TIMERCOUNT);

		/*Mensagem para interface, pacote de 50Hz com acelerometro e ext*/
		//sprintf(tx_buffer, "%d %d %d %d %d %d %lu %lu %lu %lu %lu %lu %lu %lu %d\n", 1, a_x, a_y, a_z, SPEEDFR, SPARKC,EXT_DATA[0], EXT_DATA[1], EXT_DATA[2], EXT_DATA[3],0,0,0,0, TIMERCOUNT);

		/*Mensagem para interface, pacote de 50Hz so com acelerometro*/

		SUSP = 0;
		sprintf(tx_buffer, "%d %d %d %d %d %d %d %d %d %d\n", 1, a_x, a_y, a_z, SPEEDFR, SPARKC,SUSP, INJEC_TIME_A, INJEC_TIME_B,TIMERCOUNT);/*Mensagem para interface novo jeito, pacote de 50Hz*/

			//assemblePackage(1);

		/* Transmite pacote de 50Hz (pacote 1) e espera UART estar liberado p/ transmitir */

		while (HAL_UART_GetState(&huart1) != HAL_UART_STATE_READY){}

		HAL_UART_Transmit_DMA(&huart1, tx_buffer, strlen(tx_buffer));
		//HAL_UART_Transmit_DMA(&huart1, buff1, 14);
		if((pack2_cnt ==0)&& (RECEIVED_ETX == 1)){
				/*Mensagem para interface pacote so com ext (pacote 4)*/
				sprintf(tx_buffer4, "%d %lu %lu %lu %lu %lu %lu %lu %lu %d \n",  4,EXT_DATA[0], EXT_DATA[1], EXT_DATA[2], EXT_DATA[3],EXT_DATA[4],EXT_DATA[5],EXT_DATA[6],EXT_DATA[7], TIMERCOUNT+1);

				/* Transmissao do pacote 4. Espera UART estar liberado p/ transmitir */
				while (HAL_UART_GetState(&huart1) != HAL_UART_STATE_READY){}
				HAL_UART_Transmit_DMA(&huart1, tx_buffer4, strlen(tx_buffer4));
		}
		/* Define frequencias dos pacotes 2 e 3*/

		if(pack2_cnt == 1){
			/*Carrega o buffer do pacote 2*/

			sprintf(tx_buffer2, "%d %d %d %d %d %d %d %d %d %d\n", 2, OILP, FUELP, TPS, PFREIOT, PFREIOD,POSVOL, BEACON,CORRENTE, TIMERCOUNT);

			/* Transmissao do pacote 2. Espera UART estar liberado p/ transmitir */
			while (HAL_UART_GetState(&huart1) != HAL_UART_STATE_READY){}
			HAL_UART_Transmit_DMA(&huart1, tx_buffer2, strlen(tx_buffer2));

			/*Reseta counter do pacote 2*/
			pack2_cnt = -1;
			if(pack3_cnt == 19){

				VENT = HAL_GPIO_ReadPin(GPIOB, GPIO_PIN_4);
				BOMBA = HAL_GPIO_ReadPin(GPIOA, GPIO_PIN_15);

				/* Carrega de uma vez o buffer do pacote 3 */
				TEMPPDU = 0;
				sprintf(tx_buffer3, "%d %d %d %d %d %d %d %d %d\n", 3, ECT,  BAT, BOMBA, VENT, TEMPPDU, TEMPBREAK_1, TEMPBREAK_2, TIMERCOUNT);
				//BAT = 2;
				/* Transmissao do pacote 3. Espera UART estar liberado p/ transmitir */
				while (HAL_UART_GetState(&huart1) != HAL_UART_STATE_READY){}
				HAL_UART_Transmit_DMA(&huart1, tx_buffer3, strlen(tx_buffer3));
				pack3_cnt = -1;
			}
		}
	}
	else{

		/*Mensagem para interface, pacote de 50Hz so com acelerometro*/

		assemblePackage(1);

		/* Transmite pacote de 50Hz (pacote 1) e espera UART estar liberado p/ transmitir */
		while (HAL_UART_GetState(&huart1) != HAL_UART_STATE_READY){}

		HAL_UART_Transmit_DMA(&huart1, buff1, 15);
		if((pack2_cnt ==0)&& (RECEIVED_ETX == 1)){
			/*Mensagem para interface pacote so com ext (pacote 4)*/
			assemblePackage(4);

			/* Transmissao do pacote 4. Espera UART estar liberado p/ transmitir */
			while (HAL_UART_GetState(&huart1) != HAL_UART_STATE_READY){}
			HAL_UART_Transmit_DMA(&huart1, buff4, 30);
		}
		/* Define frequencias dos pacotes 2 e 3.
		 * Ja carrega de uma vez o buffer do pacote 2 e 4*/

		assemblePackage(2);

		if(pack2_cnt == 1){
			/* Transmissao do pacote 2. Espera UART estar liberado p/ transmitir */

			while (HAL_UART_GetState(&huart1) != HAL_UART_STATE_READY){}
			HAL_UART_Transmit_DMA(&huart1, buff2, 20);
			pack2_cnt = -1;
			if(pack3_cnt == 19){

				VENT = HAL_GPIO_ReadPin(GPIOB, GPIO_PIN_4);
				BOMBA = HAL_GPIO_ReadPin(GPIOA, GPIO_PIN_15);

				/* Carrega de uma vez o buffer do pacote 3 */
				assemblePackage(3);

				/* Transmissao do pacote 3. Espera UART estar liberado p/ transmitir */
				while (HAL_UART_GetState(&huart1) != HAL_UART_STATE_READY){}
				HAL_UART_Transmit_DMA(&huart1, buff3, 15);
				pack3_cnt = -1;
			}
		}
	}
	/* Funcoes do acelerometro */
	SD_MPU6050_ReadAccelerometer(&hi2c2,&mpu1);
	a_x = mpu1.Accelerometer_X;
	a_y = mpu1.Accelerometer_Y;
	a_z = mpu1.Accelerometer_Z;
	/*
	a_x = 0;
	a_y = 0;
	a_z = 0;
	*/
	pack2_cnt++;
	pack3_cnt++;
}

void assemblePackage(uint8_t n){

	switch(n){

	case 1:
		buff1[0]=1;
		buff1[1]= 5;
		buff1[2]=a_x >> 8;
		buff1[3]= a_x;
		buff1[4]=a_y >> 8;
		buff1[5]= a_y;
		buff1[6]=a_z >> 8;
		buff1[7]= a_z;
		buff1[8] = SPEEDFR;
		buff1[9] = (SUSP>>8) | (SPARKC<<7);
		buff1[10] = SUSP;   //0 a 4095
		buff1[11] = INJEC_TIME_A >>8;
		buff1[12] = INJEC_TIME_A;
		buff1[13] = INJEC_TIME_B >>8;
		buff2[14] = INJEC_TIME_B;
		buff1[15] = TIMERCOUNT>>8;
		buff1[16] = TIMERCOUNT;
		buff1[17] = 9;
		buff1[18] = '\n';
		break;
	case 2:
		buff2[0]=2;
		buff2[1]=5;
		buff2[2]=OILP>>8;
		buff2[3]=OILP ;
		buff2[4]= FUELP>>8;
		buff2[5]= FUELP;
		buff2[6]=TPS>>8; // de 0 a 1000, 10bits
		buff2[7]= TPS;
		buff2[8]= PFREIOT>>8;
		buff2[9]=PFREIOT;
		buff2[10]= PFREIOD>>8;
		buff2[11] = PFREIOD;
		buff2[12] = POSVOL>>8;
		buff2[13] = POSVOL;
		buff2[14] = (CORRENTE>>8) | (BEACON<<7);
		buff2[15] = CORRENTE;
		buff2[16] = TIMERCOUNT>>8;
		buff2[17] = TIMERCOUNT;
		buff2[18] = 9;
		buff2[19] = '\n';
			break;
	case 3:
		buff3[0]=3;
		buff3[1]=ECT>>8;
		buff3[2]=ECT ;
		buff3[3]= BAT>>8; //max1500
		buff3[4]= BAT;
		buff3[5]= (TEMPPDU>>8) | (BOMBA<<7) | (VENT<<5); //B0V0
		buff3[6]=TEMPPDU;
		buff3[7]=TEMPBREAK_1>>8;
		buff3[8]=TEMPBREAK_1 ;
		buff3[9]=TEMPBREAK_2>>8;
		buff3[10]=TEMPBREAK_2 ;
		buff3[11] = TIMERCOUNT>>8;
		buff3[12] = TIMERCOUNT;
		buff3[13] = 9;
		buff3[14] = '\n';
			break;
	case 4:
		buff4[0] = 4;
		buff4[1] = 10;
		buff4[2] = EXT_DATA[0] >> 16;
		buff4[3] = EXT_DATA[0] >> 8;
 	    buff4[4] = EXT_DATA[0];
 	    buff4[5] = EXT_DATA[1] >> 16;
 	    buff4[6] = EXT_DATA[1] >> 8;
 	    buff4[7] = EXT_DATA[1];
 	    buff4[8] = EXT_DATA[2] >> 16;
 	    buff4[9] = EXT_DATA[2] >> 8;
 	    buff4[10] = EXT_DATA[2];
 	    buff4[11] = EXT_DATA[3] >> 16;
 	    buff4[12] = EXT_DATA[3] >> 8;
 	    buff4[13] = EXT_DATA[3];
 	    buff4[14] = EXT_DATA[4] >> 16;
 	    buff4[15] = EXT_DATA[4] >> 8;
 	    buff4[16] = EXT_DATA[4];
 	    buff4[17] = EXT_DATA[5] >> 16;
 	    buff4[18] = EXT_DATA[5] >> 8;
 	    buff4[19] = EXT_DATA[5];
 	    buff4[20] = EXT_DATA[6] >> 16;
 	    buff4[21] = EXT_DATA[6] >> 8;
 	    buff4[22] = EXT_DATA[6];
 	    buff4[23] = EXT_DATA[7] >> 16;
 	    buff4[24] = EXT_DATA[7] >> 8;
 	    buff4[25] = EXT_DATA[7];
		buff4[26] = TIMERCOUNT>>8;
		buff4[27] = TIMERCOUNT;
		buff4[28] = 9;
		buff4[29] = '\n';

			break;
	default:
			break;

	}
}

/* Callback para a interrupcao do pino do PWM */
void HAL_GPIO_EXTI_Callback(uint16_t GPIO_Pin)
{
	if(GPIO_Pin == GPIO_PIN_8){
		if (HAL_GPIO_ReadPin(GPIOB,GPIO_PIN_8)){
			PWMPeriodCounter = TIM4->CNT; //periodo
			TIM4->CNT = 0;
			dutyCycle = 1000*PWMHighCounter/PWMPeriodCounter;
			TEMPBREAK_1 = 2*(dutyCycle-125)*280 + 20000;
		}
		else{
			PWMHighCounter = TIM4->CNT;
		}
	}
}

/* USER CODE END 4 */

void _Error_Handler(char *file, int line)
{
  /* USER CODE BEGIN Error_Handler_Debug */
  /* User can add his own implementation to report the HAL error return state */
  while(1)
  {
	  break;

  }
  /* USER CODE END Error_Handler_Debug */
}

/************************ (C) COPYRIGHT STMicroelectronics *****END OF FILE****/
